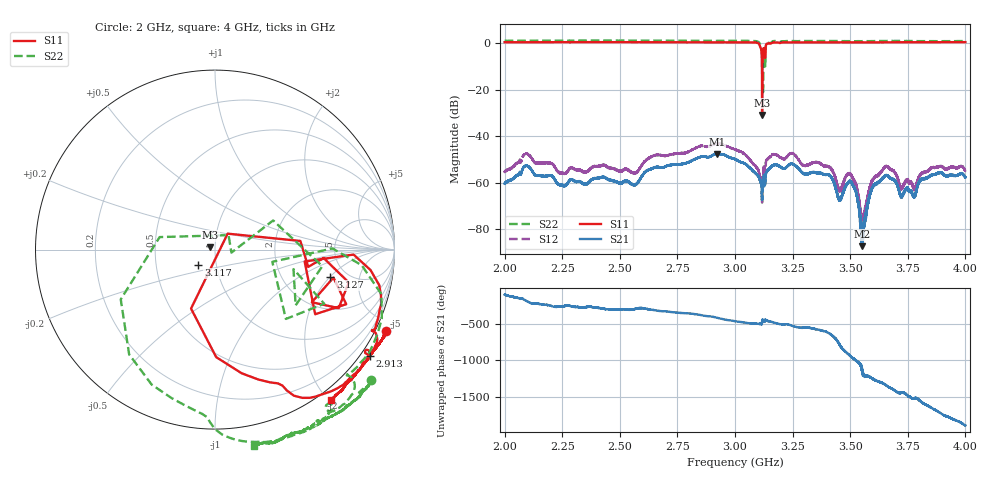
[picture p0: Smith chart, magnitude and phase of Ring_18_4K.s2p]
!Agilent Technologies,N5230C,SG49000117,A.08.50.07
!Agilent N5230C: A.08.50.07
!Date: Thursday, May 09, 2024 01:48:29
!Correction: S11(Full 2 Port(1,2))
!S21(Full 2 Port(1,2))
!S12(Full 2 Port(1,2))
!S22(Full 2 Port(1,2))
!S2P File: Measurements: S11, S21, S12, S22:
# Hz S  MA  R 50
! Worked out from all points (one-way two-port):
!   20001 points, 2 GHz to 4 GHz, reference 50 ohm
!   highest |S21| = -47.63 dB at 2.922 GHz (marker M1); lowest = -87.4 dB at 3.552 GHz (marker M2)
!   lowest |S11| = -30.9 dB at 3.118 GHz (marker M3), VSWR 1.06, Z = 47.5 + j1.24 ohm
!   |S11| at or under -10 dB: 3.116834 GHz to 3.118581 GHz (1.747 MHz wide, 0.056 % of centre)
!   |S22| runs from -21.0 to 1.2 dB; largest |S21 - S12| = 0.0038
!   S11 on the Smith chart (normalised r, x): 2 GHz: -0.56, -4.39; 2.913 GHz: -0.26, -3.21; 3.117 GHz: 0.82, -0.14; 3.127 GHz: 3.74, -2.03; 4 GHz: -0.15, -2.03
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2e9  1.056 -25.3  0.0009517 -101.8  0.001717 -121.0  1.133 -39.8
2.0938e9  1.052 -25.6  0.002319 172.4  0.004195 153.8  1.135 -40.8
2.3334e9  1.061 -27.2  0.001005 82.3  0.001784 62.9  1.143 -44.7
2.6667e9  1.054 -30.1  0.002154 36.0  0.003931 12.2  1.142 -50.4
2.9128e9  1.047 -34.4  0.004107 -52.1  0.006768 -78.0  1.127 -57.0
2.9221e9  1.047 -34.7  0.004155 -58.9  0.006932 -85.6  1.131 -57.2
3e9  1.047 -37.1  0.003219 -106.0  0.005108 -131.9  1.129 -60.4
3.0973e9  1.019 -51.0  0.00144 -140.4  0.001995 -170.3  1.095 -78.3
3.1174e9  0.1269 -137.3  0.0005196 -118.8  0.0004412 -127.9  0.6822 -140.1
3.1177e9  0.02842 152.8  0.0004277 -115.6  0.000368 -122.1  0.6412 -145.8
3.127e9  0.6613 -13.4  0.001193 -85.3  0.001764 -90.0  0.4295 -16.0
3.1421e9  0.9873 -23.2  0.001829 -103.2  0.003186 -118.9  1.028 -37.3
3.1766e9  1.043 -31.9  0.002411 -131.9  0.003976 -156.6  1.12 -50.9
3.3334e9  1.048 -39.6  0.001662 157.2  0.002599 133.1  1.121 -61.8
3.4119e9  1.046 -41.2  0.001424 80.7  0.002059 54.5  1.121 -64.1
3.4547e9  1.047 -41.8  0.000441 -70.1  0.0006387 -97.7  1.119 -65.7
3.502e9  1.047 -42.9  0.001038 132.0  0.001507 100.4  1.11 -67.2
3.5518e9  1.048 -44.1  4.263e-05 -48.3  0.0001142 -85.1  1.112 -68.6
3.5982e9  1.047 -45.2  0.0008035 -172.7  0.001159 157.7  1.115 -70.1
3.6667e9  1.05 -46.6  0.001341 73.6  0.002101 45.7  1.118 -71.9
3.7231e9  1.055 -47.9  0.0005032 -3.4  0.0007111 -31.8  1.124 -73.3
4e9  1.059 -52.3  0.001275 -92.5  0.001839 -123.0  1.118 -78.7
